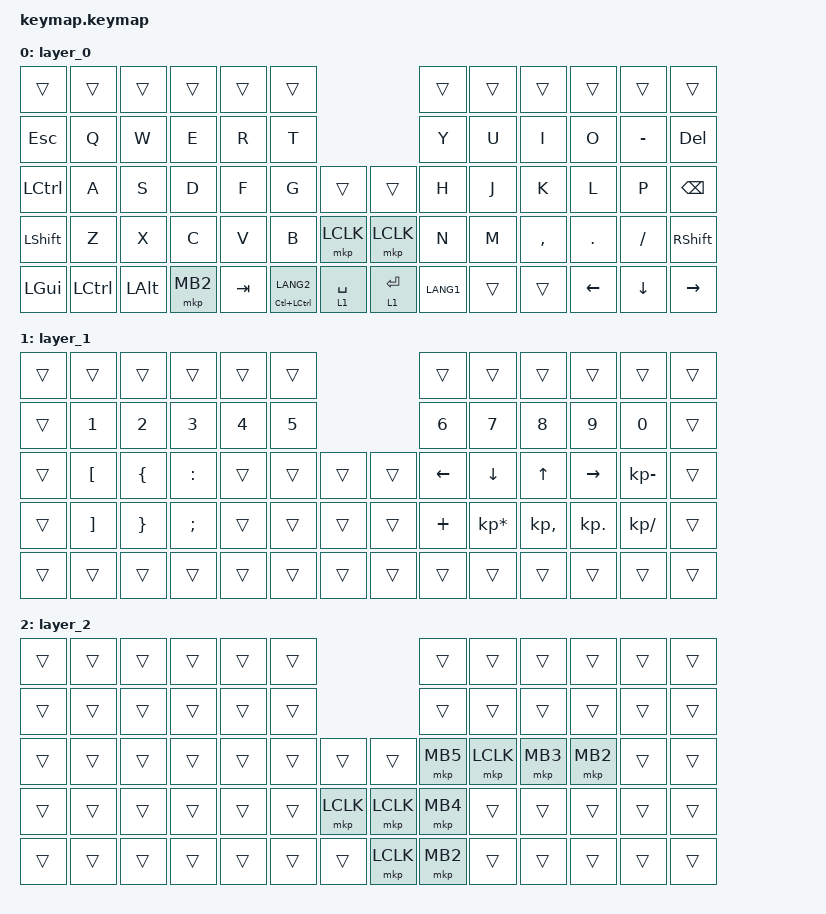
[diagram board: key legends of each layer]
#include <behaviors.dtsi>
#include <dt-bindings/zmk/bt.h>
#include <dt-bindings/zmk/keys.h>
#include <dt-bindings/zmk/pointing.h>

/ {
    combos {
        compatible = "zmk,combos";

        BT0 {
            bindings = <&bt BT_SEL 0>;
            key-positions = <13 18>;
        };

        BT1 {
            bindings = <&bt BT_SEL 1>;
            key-positions = <14 19>;
        };

        BT2 {
            bindings = <&bt BT_SEL 2>;
            key-positions = <15 20>;
        };
    };

    keymap {
        compatible = "zmk,keymap";

        layer_0 {
            bindings = <
&trans            &trans     &trans        &trans    &trans   &trans                                         &trans     &trans  &trans     &trans    &trans     &trans
&kp ESCAPE        &kp Q      &kp W         &kp E     &kp R    &kp T                                          &kp Y      &kp U   &kp I      &kp O     &kp MINUS  &kp DELETE
&kp LEFT_CONTROL  &kp A      &kp S         &kp D     &kp F    &kp G                &trans       &trans       &kp H      &kp J   &kp K      &kp L     &kp P      &kp BACKSPACE
&kp LSHFT         &kp Z      &kp X         &kp C     &kp V    &kp B                &mkp LCLK    &mkp LCLK    &kp N      &kp M   &kp COMMA  &kp DOT   &kp SLASH  &kp RSHFT
&kp LGUI          &kp LCTRL  &kp LEFT_ALT  &mkp MB2  &kp TAB  &mt LC(LCTRL) LANG2  &lt 1 SPACE  &lt 1 ENTER  &kp LANG1  &trans  &trans     &kp LEFT  &kp DOWN   &kp RIGHT
            >;
        };

        layer_1 {
            bindings = <
&trans  &trans             &trans           &trans         &trans        &trans                  &trans        &trans           &trans        &trans      &trans         &trans
&trans  &kp NUMBER_1       &kp NUMBER_2     &kp NUMBER_3   &kp NUMBER_4  &kp N5                  &kp NUMBER_6  &kp N7           &kp N8        &kp N9      &kp N0         &trans
&trans  &kp LEFT_BRACKET   &kp LEFT_BRACE   &kp COLON      &trans        &trans  &trans  &trans  &kp LEFT      &kp DOWN         &kp UP_ARROW  &kp RIGHT   &kp KP_MINUS   &trans
&trans  &kp RIGHT_BRACKET  &kp RIGHT_BRACE  &kp SEMICOLON  &trans        &trans  &trans  &trans  &kp PLUS      &kp KP_MULTIPLY  &kp KP_COMMA  &kp KP_DOT  &kp KP_DIVIDE  &trans
&trans  &trans             &trans           &trans         &trans        &trans  &trans  &trans  &trans        &trans           &trans        &trans      &trans         &trans
            >;
        };

        layer_2 {
            bindings = <
&trans  &trans  &trans  &trans  &trans  &trans                        &trans    &trans     &trans    &trans    &trans  &trans
&trans  &trans  &trans  &trans  &trans  &trans                        &trans    &trans     &trans    &trans    &trans  &trans
&trans  &trans  &trans  &trans  &trans  &trans  &trans     &trans     &mkp MB5  &mkp LCLK  &mkp MB3  &mkp MB2  &trans  &trans
&trans  &trans  &trans  &trans  &trans  &trans  &mkp LCLK  &mkp LCLK  &mkp MB4  &trans     &trans    &trans    &trans  &trans
&trans  &trans  &trans  &trans  &trans  &trans  &trans     &mkp LCLK  &mkp MB2  &trans     &trans    &trans    &trans  &trans
            >;
        };
    };
};
